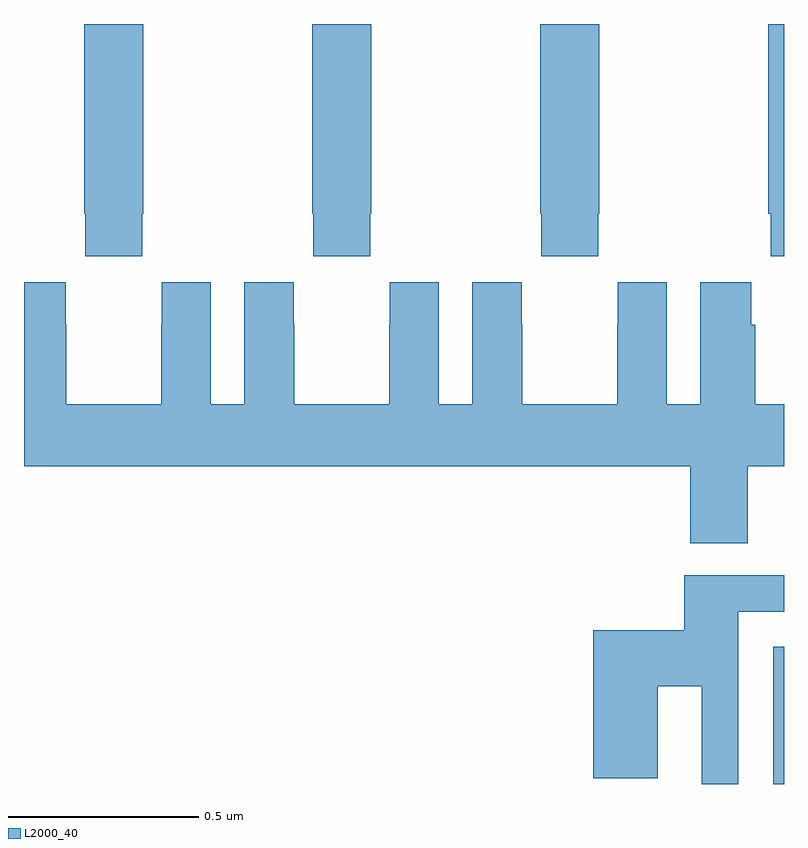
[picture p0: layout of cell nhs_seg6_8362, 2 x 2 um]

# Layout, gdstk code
import gdstk
lib = gdstk.Library(unit=1e-6, precision=1e-09)
def R(c, l, rs):  # rectangles x0, y0, x1, y1
    for r in rs: c.add(gdstk.rectangle(r[:2], r[2:], *l))
def P(c, l, *ps):  # polygons
    for p in ps: c.add(gdstk.Polygon(p, *l))
L2000_40 = (2000, 40)

nhs_seg6_8362 = lib.new_cell('nhs_seg6_8362')
R(nhs_seg6_8362, L2000_40, [(221.972,946.5,222,946.861)])
P(nhs_seg6_8362, L2000_40, [(220.311,948.001),(220.314,948.001),(220.314,948.5),(220.159,948.5),(220.159,948.001),(220.161,948.001),(220.161,947.889),(220.311,947.889)],
  [(220.911,948.001),(220.914,948.001),(220.914,948.5),(220.759,948.5),(220.759,948.001),(220.761,948.001),(220.761,947.889),(220.911,947.889)],
  [(221.511,948.001),(221.514,948.001),(221.514,948.5),(221.359,948.5),(221.359,948.001),(221.361,948.001),(221.361,947.889),(221.511,947.889)],
  [(222,948.5),(221.959,948.5),(221.959,948.001),(221.965,948.001),(221.965,947.889),(222,947.889)],
  [(221.905,947.336),(222,947.336),(222,947.5),(221.924,947.5),(221.924,947.708),(221.914,947.708),(221.914,947.821),(221.78,947.821),(221.78,947.5),(221.692,947.5),(221.692,947.821),(221.562,947.821),(221.562,947.708),(221.561,947.708),(221.561,947.5),(221.311,947.5),(221.311,947.708),(221.31,947.708),(221.31,947.821),(221.18,947.821),(221.18,947.5),(221.092,947.5),(221.092,947.821),(220.962,947.821),(220.962,947.708),(220.961,947.708),(220.961,947.5),(220.711,947.5),(220.711,947.708),(220.71,947.708),(220.71,947.821),(220.58,947.821),(220.58,947.5),(220.492,947.5),(220.492,947.821),(220.362,947.821),(220.362,947.708),(220.361,947.708),(220.361,947.5),(220.111,947.5),(220.111,947.708),(220.11,947.708),(220.11,947.821),(220,947.821),(220,947.336),(221.753,947.336),(221.753,947.134),(221.905,947.134)],
  [(221.88,946.953),(222,946.953),(222,947.049),(221.738,947.049),(221.738,946.905),(221.498,946.905),(221.498,946.515),(221.668,946.515),(221.668,946.757),(221.784,946.757),(221.784,946.5),(221.88,946.5)])

lib.write_gds('nhs_seg6_8362.gds')
